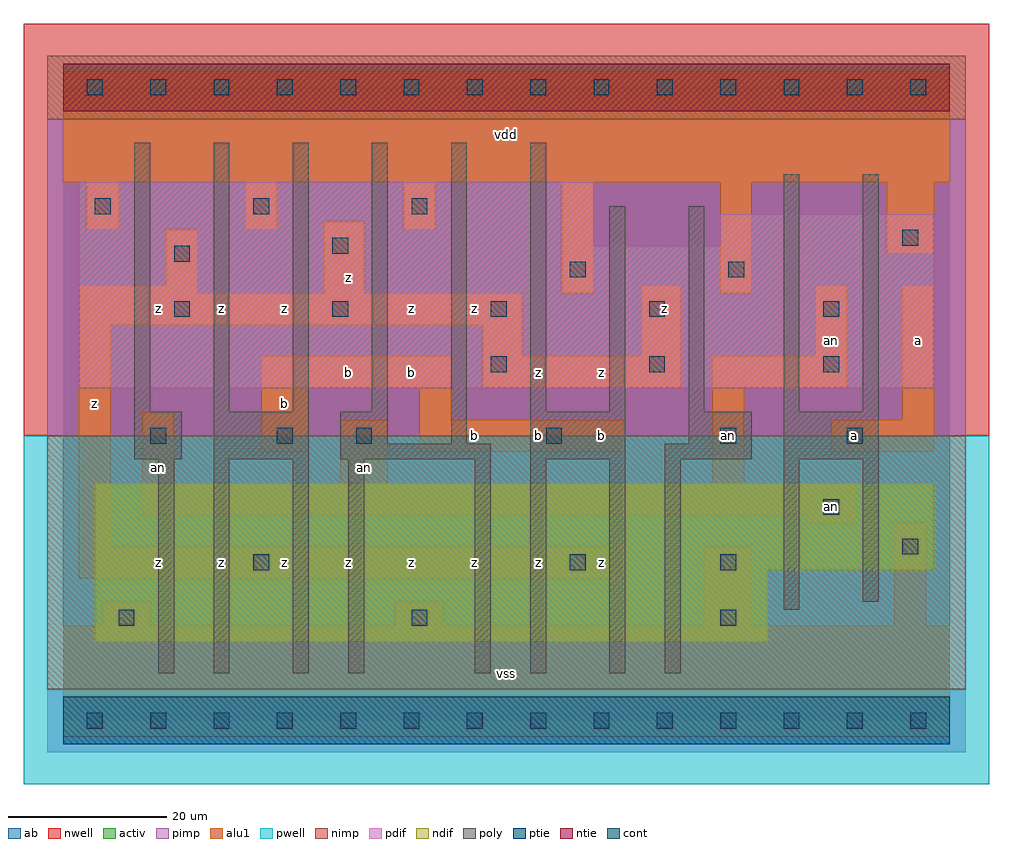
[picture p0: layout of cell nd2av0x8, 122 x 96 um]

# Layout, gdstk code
import gdstk
lib = gdstk.Library(unit=1e-6, precision=1e-09)
def R(c, l, rs):  # rectangles x0, y0, x1, y1
    for r in rs: c.add(gdstk.rectangle(r[:2], r[2:], *l))
def A(c, l, x, y, w, h, nx, ny, dx, dy):  # array of equal rectangles
    R(c, l, [(x+i*dx, y+j*dy, x+i*dx+w, y+j*dy+h) for i in range(nx) for j in range(ny)])
ndif = (3, 0)
pdif = (4, 0)
ntie = (5, 0)
ptie = (6, 0)
cont = (25, 0)
pwell = (41, 0)
nwell = (42, 0)
activ = (43, 0)
pimp = (44, 0)
nimp = (45, 0)
poly = (46, 0)
alu1 = (49, 0)
ab = (63, 0)

nd2av0x8 = lib.new_cell('nd2av0x8')
R(nd2av0x8, ndif, [(4,10,89,19), (4,19,110,30)])
R(nd2av0x8, pdif, [(2,42,110,60), (2,60,67,68), (83,60,110,64)])
R(nd2av0x8, ntie, [(0,77,112,83)])
R(nd2av0x8, ptie, [(0,-3,112,3)])
A(nd2av0x8, cont, 3, -1, 2, 2, 14, 2, 8, 80)
A(nd2av0x8, cont, 14, 51, 2, 2, 4, 1, 20, 0)
A(nd2av0x8, cont, 4, 64, 2, 2, 3, 1, 20, 0)
R(nd2av0x8, cont, [(7,12,9,14), (44,12,46,14), (83,12,85,14), (24,19,26,21), (64,19,66,21), (83,19,85,21), (106,21,108,23), (96,26,98,28), (11,35,13,37), (27,35,29,37), (37,35,39,37), (61,35,63,37), (83,35,85,37), (99,35,101,37), (54,44,56,46), (74,44,76,46), (96,44,98,46), (96,51,98,53), (64,56,66,58), (84,56,86,58), (14,58,16,60), (34,59,36,61), (106,60,108,62)])
R(nd2av0x8, pwell, [(-5,-8,117,36)])
R(nd2av0x8, nwell, [(-5,36,117,88)])
R(nd2av0x8, activ, [(0,-3,112,3), (4,10,89,19), (4,19,110,30), (2,42,110,60), (2,60,67,68), (83,60,110,64), (0,77,112,83)])
R(nd2av0x8, pimp, [(-2,-4,114,4), (-2,36,114,76)])
R(nd2av0x8, nimp, [(-2,4,114,36), (-2,76,114,84)])
A(nd2av0x8, poly, 9, 39, 2, 34, 4, 1, 10, 0)
R(nd2av0x8, poly, [(12,6,14,33), (19,6,21,33), (29,6,31,33), (36,6,38,33), (52,6,54,33), (59,6,61,33), (69,6,71,33), (76,6,78,33), (91,14,93,33), (101,15,103,33), (9,33,15,39), (19,33,31,39), (35,33,54,35), (59,33,71,39), (76,33,87,35), (91,33,103,39), (35,35,41,39), (49,35,51,73), (79,35,87,39), (59,39,61,73), (69,39,71,65), (79,39,81,65), (91,39,93,69), (101,39,103,69)])
A(nd2av0x8, alu1, 3, 62, 4, 6, 3, 1, 20, 0)
R(nd2av0x8, alu1, [(0,-2,112,12), (5,12,11,15), (42,12,48,15), (81,12,87,22), (105,12,109,25), (2,18,71,22), (2,22,6,50), (94,25,100,26), (10,26,100,30), (10,30,14,39), (35,30,41,38), (82,30,86,42), (25,34,31,42), (45,34,71,38), (97,34,110,38), (45,38,49,42), (106,38,110,55), (25,42,49,46), (53,42,78,46), (82,42,99,46), (53,46,58,50), (73,46,78,55), (95,46,99,55), (2,50,58,54), (2,54,17,55), (33,54,38,63), (63,54,67,68), (83,54,87,68), (13,55,17,62), (104,59,110,68), (0,68,112,82)])
R(nd2av0x8, ab, [(0,0,112,80)])
nd2av0x8.add(gdstk.Label('an', (12,32), layer=49, texttype=0))
nd2av0x8.add(gdstk.Label('an', (38,32), layer=49, texttype=0))
nd2av0x8.add(gdstk.Label('an', (97,27), layer=49, texttype=0))
nd2av0x8.add(gdstk.Label('an', (97,48), layer=49, texttype=0))
nd2av0x8.add(gdstk.Label('an', (84,36), layer=49, texttype=0))
nd2av0x8.add(gdstk.Label('z', (12,20), layer=49, texttype=0))
nd2av0x8.add(gdstk.Label('z', (4,40), layer=49, texttype=0))
nd2av0x8.add(gdstk.Label('z', (12,52), layer=49, texttype=0))
nd2av0x8.add(gdstk.Label('z', (20,20), layer=49, texttype=0))
nd2av0x8.add(gdstk.Label('z', (28,20), layer=49, texttype=0))
nd2av0x8.add(gdstk.Label('z', (36,20), layer=49, texttype=0))
nd2av0x8.add(gdstk.Label('b', (28,40), layer=49, texttype=0))
nd2av0x8.add(gdstk.Label('b', (36,44), layer=49, texttype=0))
nd2av0x8.add(gdstk.Label('z', (28,52), layer=49, texttype=0))
nd2av0x8.add(gdstk.Label('z', (20,52), layer=49, texttype=0))
nd2av0x8.add(gdstk.Label('z', (36,56), layer=49, texttype=0))
nd2av0x8.add(gdstk.Label('vss', (56,6), layer=49, texttype=0))
nd2av0x8.add(gdstk.Label('z', (44,20), layer=49, texttype=0))
nd2av0x8.add(gdstk.Label('z', (52,20), layer=49, texttype=0))
nd2av0x8.add(gdstk.Label('z', (60,20), layer=49, texttype=0))
nd2av0x8.add(gdstk.Label('b', (44,44), layer=49, texttype=0))
nd2av0x8.add(gdstk.Label('b', (52,36), layer=49, texttype=0))
nd2av0x8.add(gdstk.Label('b', (60,36), layer=49, texttype=0))
nd2av0x8.add(gdstk.Label('z', (60,44), layer=49, texttype=0))
nd2av0x8.add(gdstk.Label('z', (52,52), layer=49, texttype=0))
nd2av0x8.add(gdstk.Label('z', (44,52), layer=49, texttype=0))
nd2av0x8.add(gdstk.Label('vdd', (56,74), layer=49, texttype=0))
nd2av0x8.add(gdstk.Label('z', (68,20), layer=49, texttype=0))
nd2av0x8.add(gdstk.Label('b', (68,36), layer=49, texttype=0))
nd2av0x8.add(gdstk.Label('z', (68,44), layer=49, texttype=0))
nd2av0x8.add(gdstk.Label('z', (76,52), layer=49, texttype=0))
nd2av0x8.add(gdstk.Label('a', (100,36), layer=49, texttype=0))
nd2av0x8.add(gdstk.Label('a', (108,48), layer=49, texttype=0))

lib.write_gds('nd2av0x8.gds')
